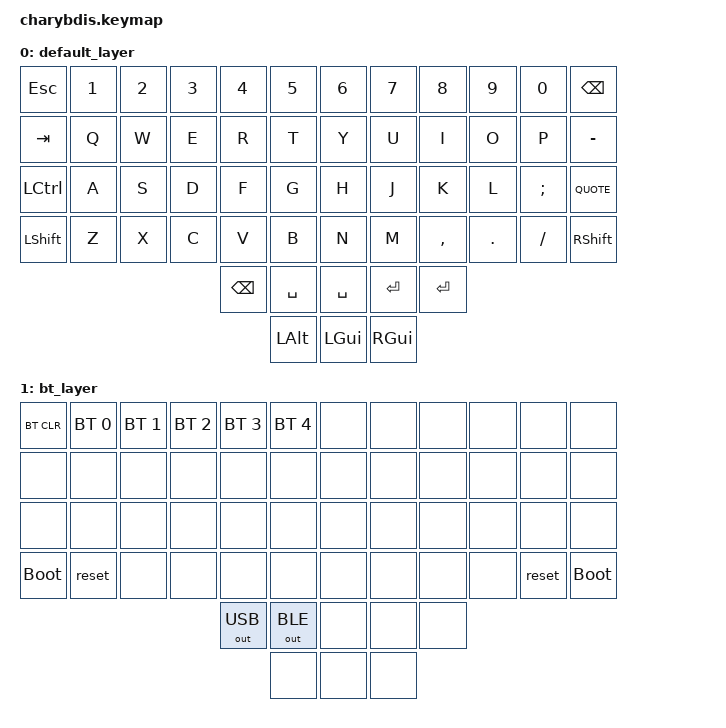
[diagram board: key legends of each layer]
#include <behaviors.dtsi>
#include <dt-bindings/zmk/keys.h>
#include <dt-bindings/zmk/bt.h>
#include <dt-bindings/zmk/outputs.h>

/ {
    keymap {
        compatible = "zmk,keymap";

        default_layer {
            bindings = <
            &kp ESC     &kp N1    &kp N2      &kp N3     &kp N4      &kp N5           &kp N6     &kp N7     &kp N8     &kp N9     &kp N0     &kp BSPC
            &kp TAB     &kp Q     &kp W       &kp E      &kp R       &kp T            &kp Y      &kp U      &kp I      &kp O      &kp P      &kp MINUS
            &kp LCTRL   &kp A     &kp S       &kp D      &kp F       &kp G            &kp H      &kp J      &kp K      &kp L      &kp SEMI   &kp QUOTE
            &kp LSHIFT  &kp Z     &kp X       &kp C      &kp V       &kp B            &kp N      &kp M      &kp COMMA  &kp DOT    &kp SLASH  &kp RSHIFT
                                                        &kp BSPC   &kp SPACE   &kp SPACE      &kp RET    &kp RET
                                                                  &kp LALT    &kp LGUI        &kp RGUI
            >;
        };

        bt_layer {
            bindings = <
            &bt BT_CLR    &bt BT_SEL 0  &bt BT_SEL 1  &bt BT_SEL 2  &bt BT_SEL 3  &bt BT_SEL 4      &none        &none      &none      &none       &none    &none
            &none         &none         &none         &none         &none         &none              &none        &none      &none      &none       &none    &none
            &none         &none         &none         &none         &none         &none              &none        &none      &none      &none       &none    &none
            &bootloader   &reset        &none         &none         &none         &none              &none        &none      &none      &none       &reset   &bootloader
                                                                  &out OUT_USB  &out OUT_BLE  &none              &none     &none
                                                                               &none         &none              &none
            >;
        };
    };
};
